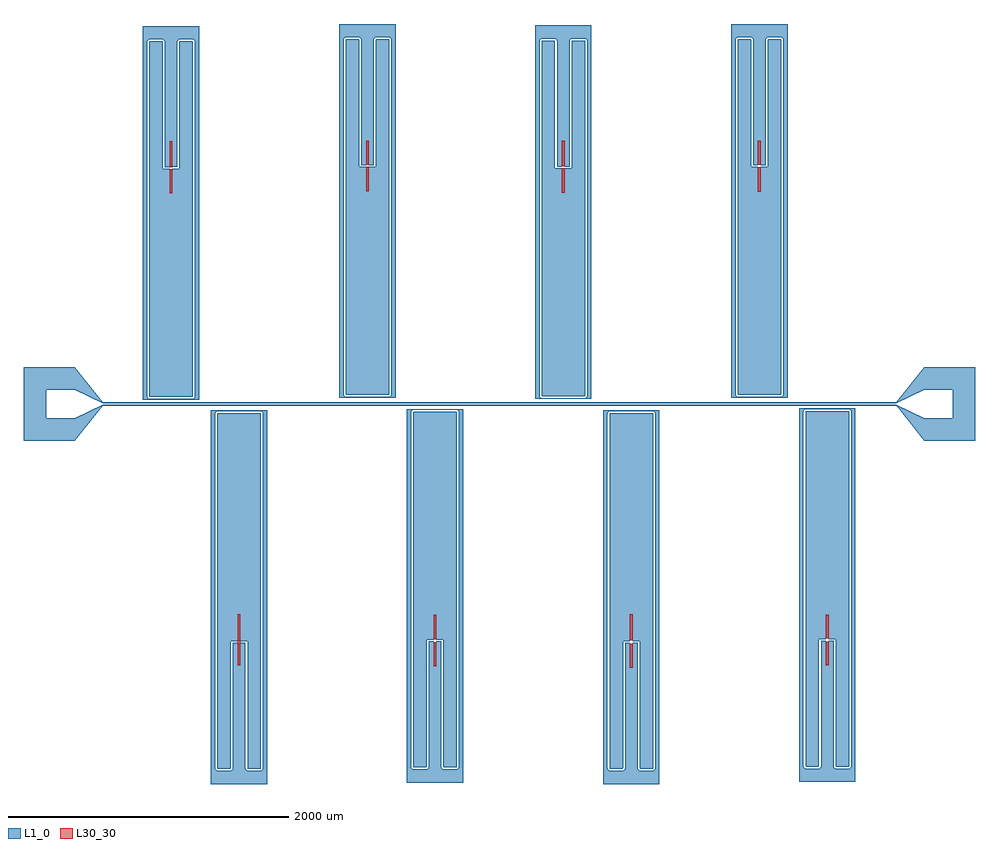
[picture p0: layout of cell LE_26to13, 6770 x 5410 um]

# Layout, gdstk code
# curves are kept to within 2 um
import gdstk
lib = gdstk.Library(unit=1e-6, precision=1e-09)
def R(c, l, rs):  # rectangles x0, y0, x1, y1
    for r in rs: c.add(gdstk.rectangle(r[:2], r[2:], *l))
def P(c, l, *ps):  # polygons
    for p in ps: c.add(gdstk.Polygon(p, *l))
L1_0 = (1, 0)
L30_30 = (30, 30)

nistborder = lib.new_cell('NISTborder')

le_26to13 = lib.new_cell('LE_26to13')
P(le_26to13, L1_0, [(5450.75,3811),(5445.75,3816),(5445.75,6336),(5450.75,6341),(5535.75,6341),(5540.5,6337.5),(5540.75,5434),(5590,5434),(5590,5430.75),(5610,5430.75),(5610,5434),(5660.25,5434),(5660.25,6336),(5665.25,6341),(5750.75,6341),(5755.75,6336),(5755.75,3816),(5750.75,3811)],
  [(1262.25,3796),(1257.25,3801),(1257.25,6321),(1262.25,6326),(1347.25,6326),(1352,6322.5),(1352.25,5419),(1422,5417.5),(1471.75,5419),(1471.75,6321),(1476.75,6326),(1562.25,6326),(1567.25,6321),(1567.25,3801),(1562.25,3796)],
  [(2660.75,3811),(2655.75,3816),(2655.75,6336),(2660.75,6341),(2745.75,6341),(2750.5,6337.5),(2750.75,5434),(2820,5432.5),(2870.25,5434),(2870.25,6336),(2875.25,6341),(2960.75,6341),(2965.75,6336),(2965.75,3816),(2960.75,3811)],
  [(4054.75,3801),(4049.75,3806),(4049.75,6326),(4054.75,6331),(4139.75,6331),(4144.5,6327.5),(4144.75,5424),(4214.5,5421.75),(4214.5,5424),(4264.25,5424),(4264.25,6326),(4269.25,6331),(4354.75,6331),(4359.75,6326),(4359.75,3806),(4354.75,3801)],
  [(5400.75,3791),(5400.75,6450),(5770.75,6450),(5770.75,6336),(5765,6350.25),(5750.75,6356),(5662,6355.75),(5651,6350.25),(5645.5,6339.25),(5645.25,5444),(5610,5444),(5610,5449.25),(5590,5449.25),(5590,5444),(5555.75,5444),(5555.5,6339.25),(5550,6350.25),(5535.75,6356),(5447.5,6355.75),(5436.5,6350.25),(5431,6339.25),(5430.75,3816),(5436.5,3801.75),(5450.75,3796),(5750.75,3796),(5765,3801.75),(5770.5,3812.75),(5770.75,6450),(5800.75,6450),(5800.75,3791)],
  [(1212.25,3776),(1212.25,6435),(1582.25,6435),(1582.25,6321),(1576.5,6335.25),(1562.25,6341),(1473.5,6340.75),(1462.5,6335.25),(1457,6324.25),(1456.75,5429),(1367.25,5429),(1367,6324.25),(1361.5,6335.25),(1347.25,6341),(1259,6340.75),(1248,6335.25),(1242.5,6324.25),(1242.25,3801),(1248,3786.75),(1262.25,3781),(1562.25,3781),(1576.5,3786.75),(1582,3797.75),(1582.25,6435),(1612.25,6435),(1612.25,3776)],
  [(2610.75,3791),(2610.75,6450),(2980.75,6450),(2980.75,6336),(2975,6350.25),(2960.75,6356),(2872,6355.75),(2861,6350.25),(2855.5,6339.25),(2855.25,5444),(2820,5444),(2820,5447.5),(2800,5447.5),(2800,5444),(2765.75,5444),(2765.5,6339.25),(2760,6350.25),(2745.75,6356),(2657.5,6355.75),(2646.5,6350.25),(2641,6339.25),(2640.75,3816),(2646.5,3801.75),(2660.75,3796),(2960.75,3796),(2975,3801.75),(2980.5,3812.75),(2980.75,6450),(3010.75,6450),(3010.75,3791)],
  [(4004.75,3781),(4004.75,6440),(4374.75,6440),(4374.75,6326),(4369,6340.25),(4354.75,6346),(4266,6345.75),(4255,6340.25),(4249.5,6329.25),(4249.25,5434),(4214.5,5434),(4214.5,5438.25),(4194.5,5438.25),(4194.5,5434),(4159.75,5434),(4159.5,6329.25),(4154,6340.25),(4139.75,6346),(4051.5,6345.75),(4040.5,6340.25),(4035,6329.25),(4034.75,3806),(4040.5,3791.75),(4054.75,3786),(4354.75,3786),(4369,3791.75),(4374.5,3802.75),(4374.75,6440),(4404.75,6440),(4404.75,3781)],
  [(5883.75,1055),(5883.75,3714),(6253.75,3714),(6253.75,3689),(6248,3703.25),(6233.75,3709),(5933.75,3709),(5919.5,3703.25),(5914,3692.25),(5913.75,1169),(5919.5,1154.75),(5933.75,1149),(6022.5,1149.25),(6033.5,1154.75),(6039,1165.75),(6039.25,2061),(6074,2061),(6074,2053),(6094,2053),(6094,2061),(6128.75,2061),(6129,1165.75),(6134.5,1154.75),(6148.75,1149),(6237,1149.25),(6248,1154.75),(6253.5,1165.75),(6253.75,3714),(6283.75,3714),(6283.75,1055)],
  [(1696.25,1040),(1696.25,3699),(2066.25,3699),(2066.25,3674),(2060.5,3688.25),(2046.25,3694),(1746.25,3694),(1732,3688.25),(1726.5,3677.25),(1726.25,1154),(1732,1139.75),(1746.25,1134),(1835,1134.25),(1846,1139.75),(1851.5,1150.75),(1851.75,2046),(1886,2046),(1886,2040),(1906,2040),(1906,2046),(1941.25,2046),(1941.5,1150.75),(1947,1139.75),(1961.25,1134),(2049.5,1134.25),(2060.5,1139.75),(2066,1150.75),(2066.25,3699),(2096.25,3699),(2096.25,1040)],
  [(3090.75,1050),(3090.75,3709),(3460.75,3709),(3460.75,3684),(3455,3698.25),(3440.75,3704),(3140.75,3704),(3126.5,3698.25),(3121,3687.25),(3120.75,1164),(3126.5,1149.75),(3140.75,1144),(3229.5,1144.25),(3240.5,1149.75),(3246,1160.75),(3246.25,2056),(3281,2056),(3281,2049),(3301,2049),(3301,2056),(3335.75,2056),(3336,1160.75),(3341.5,1149.75),(3355.75,1144),(3444,1144.25),(3455,1149.75),(3460.5,1160.75),(3460.75,3709),(3490.75,3709),(3490.75,1050)],
  [(4488.75,1040),(4488.75,3699),(4858.75,3699),(4858.75,3674),(4853,3688.25),(4838.75,3694),(4538.75,3694),(4524.5,3688.25),(4519,3677.25),(4518.75,1154),(4524.5,1139.75),(4538.75,1134),(4627.5,1134.25),(4638.5,1139.75),(4644,1150.75),(4644.25,2046),(4678.5,2046),(4678.5,2039),(4698.5,2039),(4698.5,2046),(4733.75,2046),(4734,1150.75),(4739.5,1139.75),(4753.75,1134),(4842,1134.25),(4853,1139.75),(4858.5,1150.75),(4858.75,3699),(4888.75,3699),(4888.75,1040)],
  [(5933.75,1164),(5928.75,1169),(5928.75,3689),(5933.75,3694),(6233.75,3694),(6238.75,3689),(6238.75,1169),(6233.75,1164),(6148.75,1164),(6144,1167.5),(6143.75,2071),(6094,2071),(6094,2079),(6074,2079),(6074,2071),(6024.25,2071),(6024.25,1169),(6019.25,1164)],
  [(1746.25,1149),(1741.25,1154),(1741.25,3674),(1746.25,3679),(2046.25,3679),(2051.25,3674),(2051.25,1154),(2046.25,1149),(1961.25,1149),(1956.5,1152.5),(1956.25,2056),(1906,2056),(1906,2060),(1886,2060),(1886,2056),(1836.75,2056),(1836.75,1154),(1831.75,1149)],
  [(3140.75,1159),(3135.75,1164),(3135.75,3684),(3140.75,3689),(3440.75,3689),(3445.75,3684),(3445.75,1164),(3440.75,1159),(3355.75,1159),(3351,1162.5),(3350.75,2066),(3301,2066),(3301,2071),(3281,2071),(3281,2066),(3231.25,2066),(3231.25,1164),(3226.25,1159)],
  [(4538.75,1149),(4533.75,1154),(4533.75,3674),(4538.75,3679),(4838.75,3679),(4843.75,3674),(4843.75,1154),(4838.75,1149),(4753.75,1149),(4749,1152.5),(4748.75,2056),(4698.5,2056),(4698.5,2063),(4678.5,2063),(4678.5,2056),(4629.25,2056),(4629.25,1154),(4624.25,1149)],
  [(365,3485),(365,4005),(725,4005),(925,3756),(6575,3756),(6775,4005),(6975,4005),(6975,3845),(6775,3845),(6575,3750),(925,3750),(725,3845),(525,3845),(525,3645),(725,3645),(925,3740),(6575,3740),(6775,3645),(6975,3645),(6975,4005),(7135,4005),(7135,3485),(6775,3485),(6575,3734),(925,3734),(725,3485)])
R(le_26to13, L30_30, [(4678.5,1868.5,4698.5,2039), (3281,1878,3301,2049), (6074,1886,6094,2053), (1886,1887,1906,2058.5), (1886,2060,1906,2247), (4678.5,2063,4698.5,2247.5), (3281,2071,3301,2244), (6074,2079,6094,2245.5), (1402,5246,1422,5417.5), (4194.5,5248.8,4214.5,5421.8), (5590,5255.25,5610,5430.75), (2800,5259.5,2820,5432.5), (1402,5430.5,1422,5617), (4194.5,5438.25,4214.5,5618), (2800,5447.5,2820,5618.5), (5590,5449.25,5610,5619.75)])
le_26to13.add(gdstk.Reference(nistborder, (3750,3750)))

lib.write_gds('LE_26to13.gds')
